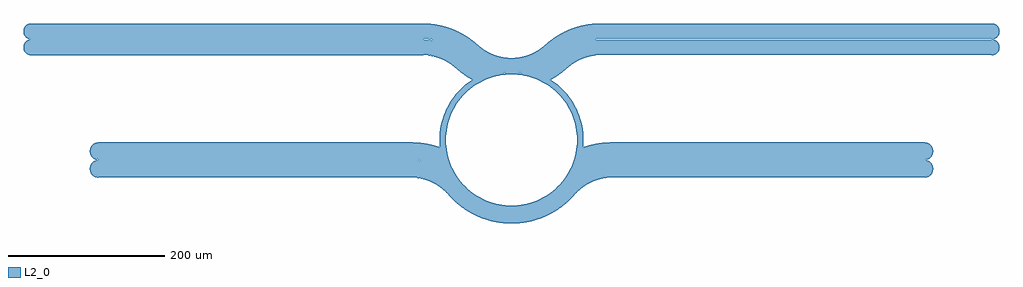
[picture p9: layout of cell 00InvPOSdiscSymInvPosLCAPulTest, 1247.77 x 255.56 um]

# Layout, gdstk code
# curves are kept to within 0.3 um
import gdstk
lib = gdstk.Library(unit=1e-6, precision=1e-09)
def P(c, l, *ps):  # polygons
    for p in ps: c.add(gdstk.Polygon(p, *l))
L2_0 = (2, 0)

c_00invposdiscsyminvposlca = lib.new_cell('00InvPOSdiscSymInvPosLCAPulTest')
P(c_00invposdiscsyminvposlca, L2_0, [(100,93.25),(87.833,93.946),(75.825,96.023),(64.808,99.217),(53.551,103.885),(42.899,109.805),(33.551,116.453),(25.483,123.562),(13.888,135.715),(5.659,142.037),(-0.117,145.324),(-6.602,148.115),(-12.96,150.052),(-19.901,151.349),(-27.775,151.852),(-428.208,151.86),(-432.753,153.016),(-436.331,155.825),(-438.511,159.853),(-438.885,164.479),(-437.75,168.151),(-435.305,171.343),(-431.882,173.475),(-428.064,174.248),(-27.775,174.252),(-20.425,173.931),(-11.463,172.658),(-2.148,170.26),(6.832,166.816),(15.361,162.371),(21.968,158),(28.135,153.027),(40.715,139.999),(47.052,134.338),(54.881,128.731),(63.298,124.053),(72.193,120.365),(81.45,117.715),(90.95,116.137),(100.567,115.652),(110.177,116.266),(119.102,117.841),(128.342,120.554),(137.212,124.302),(145.119,128.731),(152.948,134.338),(159.285,139.999),(171.865,153.027),(178.032,158),(184.153,162.08),(192.139,166.344),(200.536,169.727),(209.247,172.19),(218.735,173.766),(227.775,174.252),(629.201,174.162),(633.113,172.9),(636.331,170.28),(638.342,166.774),(638.967,162.619),(638.041,158.567),(635.789,155.228),(632.384,152.841),(628.494,151.875),(227.775,151.852),(218.666,151.178),(212.154,149.847),(205.823,147.826),(199.746,145.136),(193.992,141.811),(185.806,135.434),(175.029,124.065),(167.008,116.901),(157.101,109.805),(147.094,104.199),(135.868,99.456),(124.175,96.023),(112.167,93.946)],
  [(100,115.75),(90.398,116.299),(80.921,117.939),(71.692,120.648),(62.833,124.392),(54.457,129.12),(47.115,134.416),(40.785,140.07),(28.201,153.102),(22.483,157.744),(16.382,161.87),(8.416,166.193),(0.032,169.637),(-8.673,172.161),(-17.598,173.736),(-27.775,174.352),(-427.92,174.353),(-430.974,174.815),(-433.697,176.044),(-436.065,178.021),(-437.811,180.574),(-438.719,183.158),(-438.967,185.985),(-438.511,188.751),(-437.423,191.244),(-435.694,193.472),(-433.467,195.2),(-430.974,196.289),(-428.064,196.748),(-26.34,196.742),(-17.748,196.28),(-8.515,195),(-0.121,193.108),(8.516,190.394),(8,200),(8.996,213.499),(11.961,226.706),(16.833,239.335),(23.505,251.112),(31.832,261.783),(41.636,271.117),(49.767,277.052),(38.325,284.317),(21.22,297.958),(14.446,301.817),(6.904,304.947),(-3.164,307.504),(-13.513,308.405),(-513.885,308.406),(-513.885,328.406),(-8.044,328.203),(0.176,327.224),(8.259,325.442),(16.129,322.875),(23.709,319.548),(35.368,312.498),(47.392,302.546),(53.741,297.967),(60.92,293.767),(68.023,290.476),(75.399,287.856),(83.466,285.831),(91.693,284.609),(100,284.2),(108.307,284.609),(116.534,285.831),(124.601,287.856),(131.977,290.476),(139.08,293.767),(146.259,297.967),(152.608,302.546),(164.632,312.498),(176.291,319.548),(183.871,322.875),(191.741,325.442),(199.824,327.224),(208.044,328.203),(713.885,328.406),(713.885,308.406),(213.513,308.405),(205.736,307.887),(198.438,306.52),(189.275,303.502),(180.35,298.951),(174.254,294.714),(161.675,284.317),(150.233,277.052),(158.364,271.117),(168.168,261.783),(173.895,254.804),(181.137,243.368),(184.997,235.207),(189.243,222.354),(191.557,209.018),(192,200),(184,200),(183.091,212.325),(180.383,224.384),(175.935,235.915),(169.843,246.668),(164.933,253.289),(159.397,259.397),(153.289,264.933),(146.668,269.843),(135.915,275.935),(128.299,279.09),(120.41,281.483),(108.233,283.596),(100,284),(91.767,283.596),(79.59,281.483),(71.701,279.09),(64.085,275.935),(56.815,272.049),(46.711,264.933),(37.76,256.411),(32.531,250.039),(27.951,243.185),(22.394,232.145),(18.517,220.41),(16.404,208.233),(16,200),(16.404,191.767),(18.517,179.59),(20.91,171.701),(24.065,164.085),(30.157,153.332),(37.76,143.589),(46.711,135.067),(53.332,130.157),(60.403,125.919),(71.701,120.91),(79.59,118.517),(87.675,116.909),(95.878,116.101),(108.233,116.404),(116.388,117.614),(124.384,119.617),(135.915,124.065),(143.185,127.951),(150.039,132.531),(156.411,137.76),(162.24,143.589),(167.469,149.961),(172.049,156.815),(175.935,164.085),(179.09,171.701),(181.483,179.59),(183.596,191.767),(184,200),(192,200),(191.484,190.394),(200.121,193.108),(208.515,195),(217.748,196.28),(226.34,196.742),(627.775,196.752),(631.497,196.119),(634.899,194.195),(637.423,191.244),(638.8,187.535),(638.622,182.753),(636.502,178.532),(632.753,175.516),(628.208,174.36),(227.775,174.352),(216.474,173.592),(207.571,171.897),(198.9,169.256),(191.073,165.949),(183.136,161.572),(177.063,157.405),(171.376,152.724),(159.215,140.07),(152.885,134.416),(145.543,129.12),(137.675,124.643),(128.84,120.84),(119.63,118.069),(110.164,116.365)],
  [(100,284.6),(91.732,285.007),(83.544,286.224),(75.516,288.239),(67.723,291.032),(60.673,294.348),(53.553,298.57),(47.641,302.86),(35.602,312.823),(24.761,319.463),(17.639,322.713),(10.247,325.291),(2.649,327.174),(-5.091,328.348),(-13.885,328.806),(-513.885,328.806),(-513.885,348.806),(-6.629,348.554),(1.79,347.625),(10.106,346.018),(18.264,343.743),(25.652,341.046),(34.97,336.696),(43.31,331.784),(50.685,326.497),(62.446,316.729),(71.669,311.189),(78.509,308.304),(85.637,306.227),(92.957,304.987),(100,304.6),(107.043,304.987),(114.363,306.227),(121.491,308.304),(128.331,311.189),(137.554,316.729),(149.315,326.497),(156.69,331.784),(165.03,336.696),(174.348,341.046),(181.736,343.743),(189.894,346.018),(198.21,347.625),(206.629,348.554),(713.885,348.806),(713.885,328.806),(213.885,328.806),(205.091,328.348),(197.351,327.174),(189.753,325.291),(182.361,322.713),(175.239,319.463),(164.398,312.823),(152.359,302.86),(146.447,298.57),(139.327,294.348),(132.277,291.032),(124.484,288.239),(116.456,286.224),(108.268,285.007)],
  [(-513.885,308.406),(-517.777,309.192),(-520.956,311.335),(-523.099,314.513),(-523.885,318.406),(-523.099,322.298),(-520.956,325.477),(-517.777,327.62),(-513.885,328.406)],
  [(713.885,308.406),(713.885,328.406),(717.777,327.62),(720.956,325.477),(723.099,322.298),(723.885,318.406),(723.099,314.513),(720.956,311.335),(717.777,309.192)],
  [(-513.885,328.806),(-517.777,329.592),(-520.956,331.735),(-523.099,334.913),(-523.885,338.806),(-523.099,342.698),(-520.956,345.877),(-517.777,348.02),(-513.885,348.806)],
  [(713.885,328.806),(713.885,348.806),(717.777,348.02),(720.956,345.877),(723.099,342.698),(723.885,338.806),(723.099,334.913),(720.956,331.735),(717.777,329.592)])

lib.write_gds('00InvPOSdiscSymInvPosLCAPulTest.gds')
